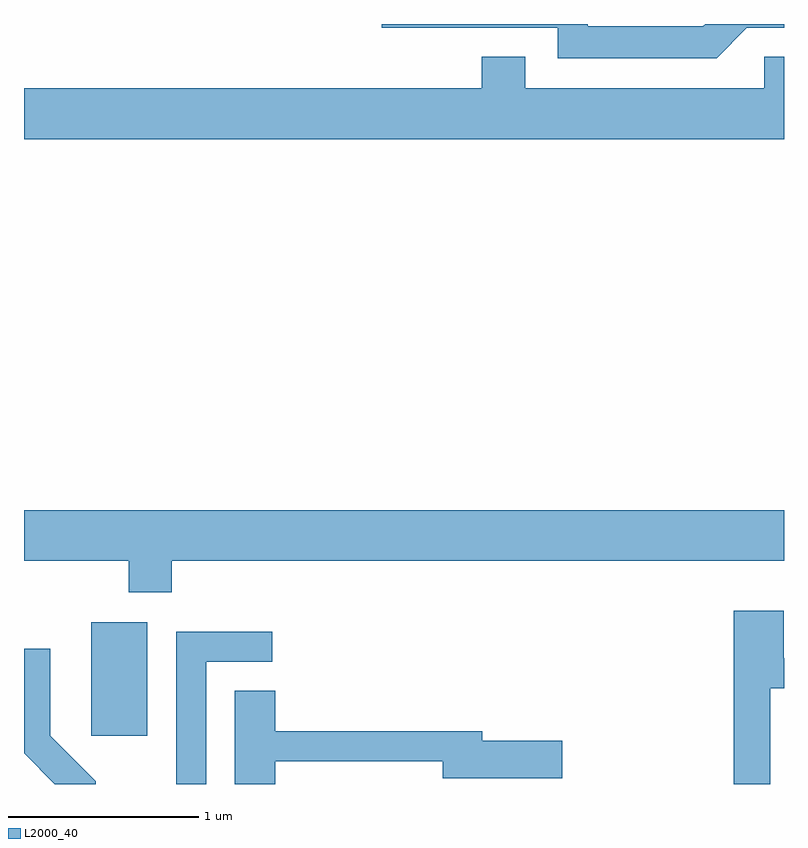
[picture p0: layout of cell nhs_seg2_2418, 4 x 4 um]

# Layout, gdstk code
import gdstk
lib = gdstk.Library(unit=1e-6, precision=1e-09)
def R(c, l, rs):  # rectangles x0, y0, x1, y1
    for r in rs: c.add(gdstk.rectangle(r[:2], r[2:], *l))
def P(c, l, *ps):  # polygons
    for p in ps: c.add(gdstk.Polygon(p, *l))
L2000_40 = (2000, 40)

nhs_seg2_2418 = lib.new_cell('nhs_seg2_2418')
R(nhs_seg2_2418, L2000_40, [(255.966,1054.056,256.259,1054.654)])
P(nhs_seg2_2418, L2000_40, [(259.416,1057.781),(259.611,1057.781),(259.611,1057.802),(259.196,1057.802),(259.183,1057.789),(258.579,1057.789),(258.579,1057.802),(257.493,1057.802),(257.493,1057.781),(258.421,1057.781),(258.421,1057.621),(259.257,1057.621)],
  [(259.611,1057.629),(259.506,1057.629),(259.506,1057.464),(258.249,1057.464),(258.249,1057.629),(258.021,1057.629),(258.021,1057.464),(255.611,1057.464),(255.611,1057.196),(259.611,1057.196)],
  [(256.389,1054.976),(259.611,1054.976),(259.611,1055.244),(255.611,1055.244),(255.611,1054.976),(256.161,1054.976),(256.161,1054.811),(256.389,1054.811)],
  [(259.539,1054.306),(259.611,1054.306),(259.611,1054.464),(259.609,1054.464),(259.609,1054.714),(259.346,1054.714),(259.346,1053.802),(259.539,1053.802)],
  [(256.569,1054.446),(256.918,1054.446),(256.918,1054.604),(256.411,1054.604),(256.411,1053.802),(256.569,1053.802)],
  [(255.989,1053.817),(255.749,1054.057),(255.749,1054.513),(255.611,1054.513),(255.611,1053.964),(255.773,1053.802),(255.989,1053.802)],
  [(256.934,1053.921),(257.816,1053.921),(257.816,1053.831),(258.444,1053.831),(258.444,1054.029),(258.024,1054.029),(258.024,1054.079),(256.934,1054.079),(256.934,1054.294),(256.721,1054.294),(256.721,1053.802),(256.934,1053.802)])

lib.write_gds('nhs_seg2_2418.gds')
